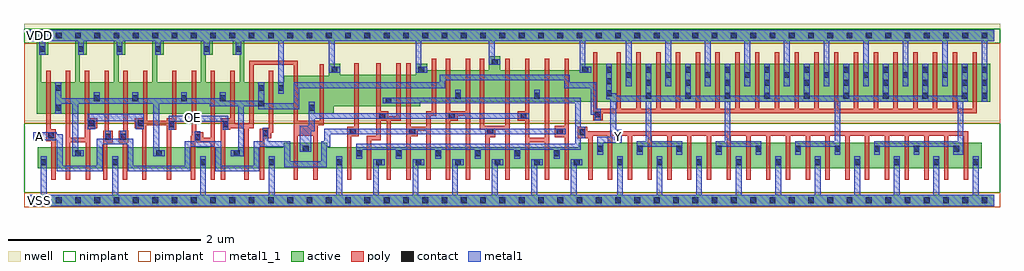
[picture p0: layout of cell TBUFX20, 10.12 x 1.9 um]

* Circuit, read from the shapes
.subckt TBUFX20 A OE VDD VSS Y
M1 n1 A VSS VSS nfet w=0.215u l=0.045u
M2 n2 OE n1 VSS nfet w=0.215u l=0.045u
M3 n3 OE n2 VSS nfet w=0.215u l=0.045u
M4 VSS A n3 VSS nfet w=0.215u l=0.045u
M5 n4 A VSS VSS nfet w=0.215u l=0.045u
M6 n2 OE n4 VSS nfet w=0.215u l=0.045u
M7 n5 OE n2 VSS nfet w=0.215u l=0.045u
M8 VSS A n5 VSS nfet w=0.215u l=0.045u
M9 n6 A VSS VSS nfet w=0.215u l=0.045u
M10 n2 OE n6 VSS nfet w=0.215u l=0.045u
M11 n7 OE n2 VSS nfet w=0.215u l=0.045u
M12 VSS A n7 VSS nfet w=0.215u l=0.045u
M13 n8 OE VSS VSS nfet w=0.26u l=0.045u m=2
M14 n9 A VSS VSS nfet w=0.215u l=0.045u m=6
M15 VSS n8 n9 VSS nfet w=0.215u l=0.045u m=6
M16 Y n9 VSS VSS nfet w=0.26u l=0.045u m=20
M17 n2 A VDD VDD pfet w=0.325u l=0.045u m=6
M18 VDD OE n2 VDD pfet w=0.325u l=0.045u m=6
M19 n8 OE VDD VDD pfet w=0.39u l=0.045u m=2
M20 n10 A VDD VDD pfet w=0.325u l=0.045u
M21 n9 n8 n10 VDD pfet w=0.325u l=0.045u
M22 n11 n8 n9 VDD pfet w=0.325u l=0.045u
M23 VDD A n11 VDD pfet w=0.325u l=0.045u
M24 n12 A VDD VDD pfet w=0.325u l=0.045u
M25 n9 n8 n12 VDD pfet w=0.325u l=0.045u
M26 n13 n8 n9 VDD pfet w=0.325u l=0.045u
M27 VDD A n13 VDD pfet w=0.325u l=0.045u
M28 n14 A VDD VDD pfet w=0.325u l=0.045u
M29 n9 n8 n14 VDD pfet w=0.325u l=0.045u
M30 n15 n8 n9 VDD pfet w=0.325u l=0.045u
M31 VDD A n15 VDD pfet w=0.325u l=0.045u
M32 Y n2 VDD VDD pfet w=0.39u l=0.045u m=20
.ends

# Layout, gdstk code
import gdstk
lib = gdstk.Library(unit=1e-6, precision=5e-10)
def R(c, l, rs):  # rectangles x0, y0, x1, y1
    for r in rs: c.add(gdstk.rectangle(r[:2], r[2:], *l))
def A(c, l, x, y, w, h, nx, ny, dx, dy):  # array of equal rectangles
    R(c, l, [(x+i*dx, y+j*dy, x+i*dx+w, y+j*dy+h) for i in range(nx) for j in range(ny)])
def P(c, l, *ps):  # polygons
    for p in ps: c.add(gdstk.Polygon(p, *l))
active = (1, 0)
nwell = (2, 0)
poly = (3, 0)
nimplant = (4, 0)
pimplant = (5, 0)
contact = (6, 0)
metal1 = (7, 0)
metal1_1 = (7, 1)

tbufx20 = lib.new_cell('TBUFX20')
R(tbufx20, active, [(0,-0.06,10,0.06)])
P(tbufx20, active, [(0,1.77),(10,1.77),(10,1.65),(2.225,1.65),(2.225,1.225),(2.635,1.225),(2.635,1.29),(3.1,1.29),(3.1,1.415),(3.22,1.415),(3.22,1.3),(4,1.3),(4,1.415),(4.12,1.415),(4.12,1.35),(4.76,1.35),(4.76,1.495),(4.88,1.495),(4.88,1.35),(5.7,1.35),(5.7,1.415),(9.96,1.415),(9.96,1.025),(4.05,1.025),(4.05,0.975),(3.15,0.975),(3.15,0.9),(0.07,0.9),(0.07,1.65),(0.19,1.65),(0.19,1.51),(0.12,1.51),(0.12,1.225),(0.47,1.225),(0.47,1.65),(0.59,1.65),(0.59,1.51),(0.52,1.51),(0.52,1.225),(0.87,1.225),(0.87,1.65),(0.99,1.65),(0.99,1.51),(0.92,1.51),(0.92,1.225),(1.27,1.225),(1.27,1.65),(1.39,1.65),(1.39,1.51),(1.32,1.51),(1.32,1.225),(1.775,1.225),(1.775,1.65),(1.895,1.65),(1.895,1.51),(1.825,1.51),(1.825,1.225),(2.175,1.225),(2.175,1.51),(2.105,1.51),(2.105,1.65),(0,1.65)],
  [(2.635,0.595),(3.085,0.595),(3.085,0.55),(5.69,0.55),(5.69,0.595),(9.87,0.595),(9.87,0.335),(0.085,0.335),(0.085,0.55),(2.635,0.55)])
R(tbufx20, nwell, [(-0.06,0.82,10.06,1.83)])
P(tbufx20, poly, [(0.17,1.345),(0.215,1.345),(0.215,0.735),(0.27,0.735),(0.27,0.215),(0.225,0.215),(0.225,0.615),(0.17,0.615)],
  [(0.375,1.345),(0.42,1.345),(0.42,0.65),(0.57,0.65),(0.57,1.345),(0.615,1.345),(0.615,0.85),(0.7,0.85),(0.7,0.75),(0.625,0.75),(0.625,0.215),(0.58,0.215),(0.58,0.605),(0.42,0.605),(0.42,0.215),(0.375,0.215)],
  [(0.775,1.345),(0.82,1.345),(0.82,0.72),(0.86,0.72),(0.86,0.6),(0.805,0.6),(0.805,0.215),(0.76,0.215),(0.76,0.72),(0.775,0.72)],
  [(0.97,1.345),(1.015,1.345),(1.015,0.72),(1.02,0.72),(1.02,0.6),(1.01,0.6),(1.01,0.215),(0.965,0.215),(0.965,0.6),(0.92,0.6),(0.92,0.72),(0.97,0.72)],
  [(1.175,1.345),(1.22,1.345),(1.22,0.825),(1.42,0.825),(1.42,0.85),(1.475,0.85),(1.475,1.345),(1.52,1.345),(1.52,0.73),(1.465,0.73),(1.465,0.215),(1.42,0.215),(1.42,0.78),(1.21,0.78),(1.21,0.215),(1.165,0.215),(1.165,0.75),(1.09,0.75),(1.09,0.85),(1.175,0.85)],
  [(1.68,1.345),(1.725,1.345),(1.725,0.705),(1.8,0.705),(1.8,0.65),(1.875,0.65),(1.875,1.345),(1.92,1.345),(1.92,0.215),(1.875,0.215),(1.875,0.605),(1.715,0.605),(1.715,0.215),(1.67,0.215),(1.67,0.67),(1.68,0.67)],
  [(2.275,1.45),(2.78,1.45),(2.78,0.825),(3.005,0.825),(3.005,1.41),(3.05,1.41),(3.05,0.78),(2.985,0.78),(2.985,0.215),(2.94,0.215),(2.94,0.67),(2.78,0.67),(2.78,0.215),(2.735,0.215),(2.735,1.405),(2.32,1.405),(2.32,0.75),(2.27,0.75),(2.27,0.215),(2.225,0.215),(2.225,0.75),(2.08,0.75),(2.08,0.73),(2.025,0.73),(2.025,0.215),(1.98,0.215),(1.98,0.85),(2.08,0.85),(2.08,1.345),(2.125,1.345),(2.125,0.795),(2.275,0.795)],
  [(2.48,1.345),(2.525,1.345),(2.525,0.7),(2.505,0.7),(2.505,0.645),(2.43,0.645),(2.43,0.215),(2.385,0.215),(2.385,0.745),(2.48,0.745)],
  [(3.365,1.42),(3.41,1.42),(3.41,0.665),(3.335,0.665),(3.335,0.215),(3.29,0.215),(3.29,0.765),(3.365,0.765)],
  [(3.595,1.42),(3.64,1.42),(3.64,0.925),(3.715,0.925),(3.715,0.87),(3.8,0.87),(3.8,1.42),(3.845,1.42),(3.845,0.825),(3.745,0.825),(3.745,0.215),(3.7,0.215),(3.7,0.825),(3.64,0.825),(3.64,0.625),(3.54,0.625),(3.54,0.215),(3.495,0.215),(3.495,0.67),(3.595,0.67)],
  [(3.905,1.42),(3.95,1.42),(3.95,0.765),(4.11,0.765),(4.11,0.925),(4.17,0.925),(4.17,1.47),(4.215,1.47),(4.215,0.88),(4.155,0.88),(4.155,0.215),(4.11,0.215),(4.11,0.72),(4.025,0.72),(4.025,0.665),(3.95,0.665),(3.95,0.215),(3.905,0.215)],
  [(4.315,1.47),(4.36,1.47),(4.36,0.925),(4.52,0.925),(4.52,1.47),(4.565,1.47),(4.565,0.215),(4.52,0.215),(4.52,0.88),(4.435,0.88),(4.435,0.825),(4.36,0.825),(4.36,0.215),(4.315,0.215)],
  [(4.665,1.47),(4.71,1.47),(4.71,0.775),(4.93,0.775),(4.93,1.47),(4.975,1.47),(4.975,0.215),(4.93,0.215),(4.93,0.73),(4.825,0.73),(4.825,0.655),(4.77,0.655),(4.77,0.215),(4.725,0.215),(4.725,0.73),(4.665,0.73)],
  [(5.135,1.47),(5.18,1.47),(5.18,0.65),(5.34,0.65),(5.34,1.47),(5.385,1.47),(5.385,0.215),(5.34,0.215),(5.34,0.605),(5.18,0.605),(5.18,0.215),(5.135,0.215),(5.135,0.825),(5.06,0.825),(5.06,0.925),(5.135,0.925)],
  [(5.545,1.47),(5.59,1.47),(5.59,0.215),(5.545,0.215),(5.545,0.655),(5.445,0.655),(5.445,0.775),(5.545,0.775)],
  [(5.84,1.535),(5.885,1.535),(5.885,0.95),(6.085,0.95),(6.085,1.535),(6.13,1.535),(6.13,0.95),(6.29,0.95),(6.29,1.535),(6.335,1.535),(6.335,0.95),(6.495,0.95),(6.495,1.535),(6.54,1.535),(6.54,0.95),(6.7,0.95),(6.7,1.535),(6.745,1.535),(6.745,0.95),(6.905,0.95),(6.905,1.535),(6.95,1.535),(6.95,0.95),(7.11,0.95),(7.11,1.535),(7.155,1.535),(7.155,0.95),(7.315,0.95),(7.315,1.535),(7.36,1.535),(7.36,0.95),(7.52,0.95),(7.52,1.535),(7.565,1.535),(7.565,0.95),(7.725,0.95),(7.725,1.535),(7.77,1.535),(7.77,0.95),(7.93,0.95),(7.93,1.535),(7.975,1.535),(7.975,0.95),(8.135,0.95),(8.135,1.535),(8.18,1.535),(8.18,0.95),(8.34,0.95),(8.34,1.535),(8.385,1.535),(8.385,0.95),(8.545,0.95),(8.545,1.535),(8.59,1.535),(8.59,0.95),(8.75,0.95),(8.75,1.535),(8.795,1.535),(8.795,0.95),(8.955,0.95),(8.955,1.535),(9,1.535),(9,0.95),(9.16,0.95),(9.16,1.535),(9.205,1.535),(9.205,0.95),(9.365,0.95),(9.365,1.535),(9.41,1.535),(9.41,0.95),(9.57,0.95),(9.57,1.535),(9.615,1.535),(9.615,0.95),(9.775,0.95),(9.775,1.535),(9.82,1.535),(9.82,0.905),(5.94,0.905),(5.94,0.83),(5.84,0.83)],
  [(5.68,0.765),(5.78,0.765),(5.78,0.715),(9.73,0.715),(9.73,0.215),(9.685,0.215),(9.685,0.67),(9.525,0.67),(9.525,0.215),(9.48,0.215),(9.48,0.67),(9.32,0.67),(9.32,0.215),(9.275,0.215),(9.275,0.67),(9.115,0.67),(9.115,0.215),(9.07,0.215),(9.07,0.67),(8.91,0.67),(8.91,0.215),(8.865,0.215),(8.865,0.67),(8.705,0.67),(8.705,0.215),(8.66,0.215),(8.66,0.67),(8.5,0.67),(8.5,0.215),(8.455,0.215),(8.455,0.67),(8.295,0.67),(8.295,0.215),(8.25,0.215),(8.25,0.67),(8.09,0.67),(8.09,0.215),(8.045,0.215),(8.045,0.67),(7.885,0.67),(7.885,0.215),(7.84,0.215),(7.84,0.67),(7.68,0.67),(7.68,0.215),(7.635,0.215),(7.635,0.67),(7.475,0.67),(7.475,0.215),(7.43,0.215),(7.43,0.67),(7.27,0.67),(7.27,0.215),(7.225,0.215),(7.225,0.67),(7.065,0.67),(7.065,0.215),(7.02,0.215),(7.02,0.67),(6.86,0.67),(6.86,0.215),(6.815,0.215),(6.815,0.67),(6.655,0.67),(6.655,0.215),(6.61,0.215),(6.61,0.67),(6.45,0.67),(6.45,0.215),(6.405,0.215),(6.405,0.67),(6.245,0.67),(6.245,0.215),(6.2,0.215),(6.2,0.67),(6.04,0.67),(6.04,0.215),(5.995,0.215),(5.995,0.67),(5.835,0.67),(5.835,0.215),(5.79,0.215),(5.79,0.645),(5.68,0.645)])
R(tbufx20, nimplant, [(-0.06,0.08,10.06,0.8), (-0.06,1.63,10.06,1.78)])
R(tbufx20, pimplant, [(-0.06,-0.07,10.06,0.08), (-0.06,0.8,10.06,1.63)])
A(tbufx20, contact, 0.07, -0.03, 0.06, 0.06, 50, 2, 0.2, 1.71)
A(tbufx20, contact, 3.18, 0.365, 0.06, 0.06, 7, 1, 0.41, 0)
A(tbufx20, contact, 6.09, 0.365, 0.06, 0.06, 10, 1, 0.41, 0)
A(tbufx20, contact, 3.385, 0.46, 0.06, 0.06, 6, 1, 0.41, 0)
A(tbufx20, contact, 5.885, 0.505, 0.06, 0.06, 10, 1, 0.41, 0)
A(tbufx20, contact, 6.385, 1.055, 0.06, 0.06, 9, 2, 0.41, 0.135)
A(tbufx20, contact, 9.87, 1.055, 0.06, 0.06, 1, 3, 0, 0.135)
A(tbufx20, contact, 6.18, 1.27, 0.06, 0.06, 9, 1, 0.41, 0)
A(tbufx20, contact, 5.975, 1.325, 0.06, 0.06, 10, 1, 0.41, 0)
A(tbufx20, contact, 0.1, 1.54, 0.06, 0.06, 4, 1, 0.4, 0)
R(tbufx20, contact, [(0.115,0.365,0.175,0.425), (0.855,0.365,0.915,0.425), (1.765,0.365,1.825,0.425), (2.48,0.365,2.54,0.425), (0.47,0.46,0.53,0.52), (1.31,0.46,1.37,0.52), (2.115,0.46,2.175,0.52), (2.83,0.505,2.89,0.565), (1.71,0.625,1.77,0.685), (0.78,0.63,0.84,0.69), (0.94,0.63,1,0.69), (0.19,0.645,0.25,0.705), (2.415,0.665,2.475,0.725), (5.7,0.675,5.76,0.735), (3.32,0.685,3.38,0.745), (3.935,0.685,3.995,0.745), (4.745,0.685,4.805,0.745), (5.465,0.685,5.525,0.745), (1.44,0.76,1.5,0.82), (2,0.76,2.06,0.82), (0.61,0.77,0.67,0.83), (1.12,0.77,1.18,0.83), (3.625,0.845,3.685,0.905), (4.345,0.845,4.405,0.905), (5.09,0.845,5.15,0.905), (5.86,0.86,5.92,0.92), (0.265,0.93,0.325,0.99), (2.895,0.93,2.955,0.99), (2.37,0.975,2.43,1.035), (3.69,1.005,3.75,1.065), (0.665,1.03,0.725,1.09), (1.065,1.03,1.125,1.09), (1.57,1.03,1.63,1.09), (1.97,1.03,2.03,1.09), (4.41,1.055,4.47,1.115), (5.23,1.055,5.29,1.115), (5.975,1.08,6.035,1.14), (0.265,1.135,0.325,1.195), (2.37,1.135,2.43,1.195), (2.575,1.135,2.635,1.195), (5.975,1.205,6.035,1.265), (3.13,1.325,3.19,1.385), (4.03,1.325,4.09,1.385), (5.73,1.325,5.79,1.385), (4.79,1.405,4.85,1.465), (1.805,1.54,1.865,1.6), (2.135,1.54,2.195,1.6)])
P(tbufx20, metal1, [(0,1.77),(10,1.77),(10,1.65),(9.93,1.65),(9.93,1.025),(9.87,1.025),(9.87,1.65),(9.52,1.65),(9.52,1.185),(9.46,1.185),(9.46,1.65),(9.11,1.65),(9.11,1.185),(9.05,1.185),(9.05,1.65),(8.7,1.65),(8.7,1.185),(8.64,1.185),(8.64,1.65),(8.29,1.65),(8.29,1.185),(8.23,1.185),(8.23,1.65),(7.88,1.65),(7.88,1.185),(7.82,1.185),(7.82,1.65),(7.47,1.65),(7.47,1.185),(7.41,1.185),(7.41,1.65),(7.06,1.65),(7.06,1.185),(7,1.185),(7,1.65),(6.65,1.65),(6.65,1.185),(6.59,1.185),(6.59,1.65),(6.24,1.65),(6.24,1.185),(6.18,1.185),(6.18,1.65),(5.76,1.65),(5.76,1.385),(5.82,1.385),(5.82,1.325),(5.7,1.325),(5.7,1.65),(4.82,1.65),(4.82,1.465),(4.88,1.465),(4.88,1.405),(4.76,1.405),(4.76,1.65),(4.06,1.65),(4.06,1.385),(4.12,1.385),(4.12,1.325),(4,1.325),(4,1.65),(3.16,1.65),(3.16,1.385),(3.22,1.385),(3.22,1.325),(3.1,1.325),(3.1,1.65),(2.635,1.65),(2.635,1.105),(2.575,1.105),(2.575,1.65),(2.195,1.65),(2.195,1.51),(2.135,1.51),(2.135,1.65),(1.865,1.65),(1.865,1.51),(1.805,1.51),(1.805,1.65),(1.36,1.65),(1.36,1.51),(1.3,1.51),(1.3,1.65),(0.96,1.65),(0.96,1.51),(0.9,1.51),(0.9,1.65),(0.56,1.65),(0.56,1.51),(0.5,1.51),(0.5,1.65),(0.16,1.65),(0.16,1.51),(0.1,1.51),(0.1,1.65),(0,1.65)],
  [(4.25,1.305),(5.6,1.305),(5.6,1.225),(5.875,1.225),(5.875,0.95),(5.92,0.95),(5.92,0.83),(5.86,0.83),(5.86,0.89),(5.815,0.89),(5.815,1.165),(5.54,1.165),(5.54,1.245),(4.31,1.245),(4.31,1.165),(2.795,1.165),(2.795,0.945),(2.37,0.945),(2.37,0.975),(2.22,0.975),(2.22,0.46),(2.085,0.46),(2.085,0.52),(2.16,0.52),(2.16,0.975),(1.865,0.975),(1.865,1),(1.34,1),(1.34,0.52),(1.4,0.52),(1.4,0.46),(1.28,0.46),(1.28,1),(0.5,1),(0.5,0.52),(0.56,0.52),(0.56,0.46),(0.44,0.46),(0.44,1),(0.325,1),(0.325,0.9),(0.265,0.9),(0.265,1.225),(0.325,1.225),(0.325,1.06),(0.665,1.06),(0.665,1.12),(0.725,1.12),(0.725,1.06),(1.065,1.06),(1.065,1.12),(1.125,1.12),(1.125,1.06),(1.57,1.06),(1.57,1.12),(1.63,1.12),(1.63,1.06),(1.97,1.06),(1.97,1.12),(2.03,1.12),(2.03,1.035),(2.37,1.035),(2.37,1.225),(2.43,1.225),(2.43,1.005),(2.735,1.005),(2.735,1.225),(4.25,1.225)],
  [(0.035,0.705),(0.28,0.705),(0.28,0.685),(0.34,0.685),(0.34,0.36),(0.695,0.36),(0.695,0.64),(0.78,0.64),(0.78,0.72),(0.84,0.72),(0.84,0.64),(0.94,0.64),(0.94,0.72),(1,0.72),(1,0.64),(1.075,0.64),(1.075,0.36),(1.605,0.36),(1.605,0.615),(1.71,0.615),(1.71,0.715),(1.77,0.715),(1.77,0.615),(1.985,0.615),(1.985,0.36),(2.32,0.36),(2.32,0.615),(2.415,0.615),(2.415,0.755),(2.475,0.755),(2.475,0.615),(2.7,0.615),(2.7,0.405),(3.02,0.405),(3.02,0.615),(3.055,0.615),(3.055,0.745),(5.555,0.745),(5.555,0.685),(3.115,0.685),(3.115,0.555),(3.08,0.555),(3.08,0.345),(2.64,0.345),(2.64,0.555),(2.38,0.555),(2.38,0.3),(1.925,0.3),(1.925,0.555),(1.665,0.555),(1.665,0.3),(1.015,0.3),(1.015,0.58),(0.755,0.58),(0.755,0.3),(0.28,0.3),(0.28,0.625),(0.035,0.625)],
  [(0.115,0.455),(0.175,0.455),(0.175,0.06),(0.855,0.06),(0.855,0.455),(0.915,0.455),(0.915,0.06),(1.765,0.06),(1.765,0.455),(1.825,0.455),(1.825,0.06),(2.48,0.06),(2.48,0.455),(2.54,0.455),(2.54,0.06),(3.18,0.06),(3.18,0.455),(3.24,0.455),(3.24,0.06),(3.56,0.06),(3.56,0.425),(3.68,0.425),(3.68,0.365),(3.62,0.365),(3.62,0.06),(3.97,0.06),(3.97,0.425),(4.09,0.425),(4.09,0.365),(4.03,0.365),(4.03,0.06),(4.38,0.06),(4.38,0.425),(4.5,0.425),(4.5,0.365),(4.44,0.365),(4.44,0.06),(4.79,0.06),(4.79,0.425),(4.91,0.425),(4.91,0.365),(4.85,0.365),(4.85,0.06),(5.2,0.06),(5.2,0.425),(5.32,0.425),(5.32,0.365),(5.26,0.365),(5.26,0.06),(5.61,0.06),(5.61,0.425),(5.73,0.425),(5.73,0.365),(5.67,0.365),(5.67,0.06),(6.09,0.06),(6.09,0.455),(6.15,0.455),(6.15,0.06),(6.5,0.06),(6.5,0.455),(6.56,0.455),(6.56,0.06),(6.91,0.06),(6.91,0.455),(6.97,0.455),(6.97,0.06),(7.32,0.06),(7.32,0.455),(7.38,0.455),(7.38,0.06),(7.73,0.06),(7.73,0.455),(7.79,0.455),(7.79,0.06),(8.14,0.06),(8.14,0.455),(8.2,0.455),(8.2,0.06),(8.55,0.06),(8.55,0.455),(8.61,0.455),(8.61,0.06),(8.96,0.06),(8.96,0.455),(9.02,0.455),(9.02,0.06),(9.37,0.06),(9.37,0.455),(9.43,0.455),(9.43,0.06),(9.78,0.06),(9.78,0.455),(9.84,0.455),(9.84,0.06),(10,0.06),(10,-0.06),(0,-0.06),(0,0.06),(0.115,0.06)],
  [(0.6,0.9),(1.18,0.9),(1.18,0.74),(1.1,0.74),(1.1,0.82),(0.68,0.82),(0.68,0.74),(0.6,0.74)],
  [(1.635,0.895),(1.765,0.895),(1.765,0.875),(2.06,0.875),(2.06,0.73),(2,0.73),(2,0.815),(1.5,0.815),(1.5,0.73),(1.44,0.73),(1.44,0.875),(1.635,0.875)],
  [(4.41,1.145),(4.47,1.145),(4.47,1.065),(5.23,1.065),(5.23,1.145),(5.29,1.145),(5.29,1.065),(5.715,1.065),(5.715,0.765),(5.76,0.765),(5.76,0.645),(5.715,0.645),(5.715,0.525),(5.495,0.525),(5.495,0.43),(5.435,0.43),(5.435,0.525),(5.085,0.525),(5.085,0.43),(5.025,0.43),(5.025,0.525),(4.675,0.525),(4.675,0.43),(4.615,0.43),(4.615,0.525),(4.265,0.525),(4.265,0.43),(4.205,0.43),(4.205,0.525),(3.855,0.525),(3.855,0.43),(3.795,0.43),(3.795,0.525),(3.445,0.525),(3.445,0.43),(3.385,0.43),(3.385,0.585),(5.655,0.585),(5.655,1.005),(3.66,1.005),(3.66,1.065),(4.41,1.065)],
  [(2.895,1.02),(2.955,1.02),(2.955,0.905),(5.18,0.905),(5.18,0.845),(2.955,0.845),(2.955,0.715),(2.92,0.715),(2.92,0.505),(2.8,0.505),(2.8,0.775),(2.895,0.775)],
  [(5.975,1.415),(6.035,1.415),(6.035,1.11),(6.08,1.11),(6.08,1.085),(6.385,1.085),(6.385,1.415),(6.445,1.415),(6.445,1.085),(6.795,1.085),(6.795,1.415),(6.855,1.415),(6.855,1.085),(7.205,1.085),(7.205,1.415),(7.265,1.415),(7.265,1.085),(7.615,1.085),(7.615,1.415),(7.675,1.415),(7.675,1.085),(8.025,1.085),(8.025,1.415),(8.085,1.415),(8.085,1.085),(8.435,1.085),(8.435,1.415),(8.495,1.415),(8.495,1.085),(8.845,1.085),(8.845,1.415),(8.905,1.415),(8.905,1.085),(9.255,1.085),(9.255,1.415),(9.315,1.415),(9.315,1.085),(9.665,1.085),(9.665,1.415),(9.725,1.415),(9.725,1.025),(9.68,1.025),(9.68,0.475),(9.575,0.475),(9.575,0.555),(9.225,0.555),(9.225,0.475),(9.165,0.475),(9.165,0.555),(8.815,0.555),(8.815,0.475),(8.755,0.475),(8.755,0.615),(9.62,0.615),(9.62,1.025),(8.405,1.025),(8.405,0.475),(8.345,0.475),(8.345,0.555),(7.995,0.555),(7.995,0.475),(7.935,0.475),(7.935,0.615),(8.345,0.615),(8.345,1.025),(7.265,1.025),(7.265,0.615),(7.585,0.615),(7.585,0.475),(7.525,0.475),(7.525,0.555),(7.175,0.555),(7.175,0.475),(7.115,0.475),(7.115,0.615),(7.205,0.615),(7.205,1.025),(6.445,1.025),(6.445,0.615),(6.765,0.615),(6.765,0.475),(6.705,0.475),(6.705,0.555),(6.355,0.555),(6.355,0.475),(6.295,0.475),(6.295,0.615),(6.385,0.615),(6.385,1.025),(6.08,1.025),(6.08,0.73),(6.14,0.73),(6.14,0.6),(5.945,0.6),(5.945,0.475),(5.885,0.475),(5.885,0.66),(6.02,0.66),(6.02,1.05),(5.975,1.05)])
R(tbufx20, metal1_1, [(0.06,-0.04,0.14,0.04), (0.06,0.625,0.14,0.705), (6.06,0.625,6.14,0.705), (1.66,0.815,1.74,0.895), (0.06,1.67,0.14,1.75)])
tbufx20.add(gdstk.Label('Y', (6.1,0.665), layer=7, texttype=1))
tbufx20.add(gdstk.Label('OE', (1.7,0.855), layer=7, texttype=1))
tbufx20.add(gdstk.Label('A', (0.1,0.665), layer=7, texttype=1))
tbufx20.add(gdstk.Label('VDD', (0.1,1.71), layer=7, texttype=1))
tbufx20.add(gdstk.Label('VSS', (0.1,0), layer=7, texttype=1))
tbufx20.add(gdstk.Label('TBUFX20', (0,0), layer=63, texttype=0))

lib.write_gds('TBUFX20.gds')
